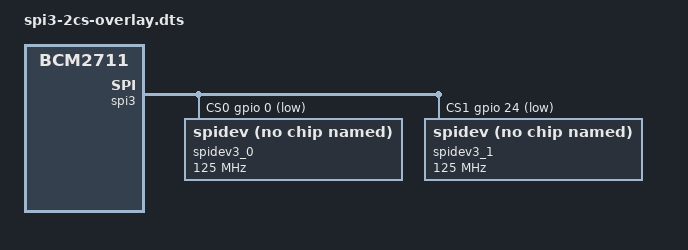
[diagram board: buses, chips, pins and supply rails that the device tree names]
/dts-v1/;
/plugin/;


/ {
	compatible = "brcm,bcm2711";

	fragment@0 {
		target = <&spi3_cs_pins>;
		frag0: __overlay__ {
			brcm,pins = <0 24>;
			brcm,function = <1>; /* output */
		};
	};

	fragment@1 {
		target = <&spi3>;
		frag1: __overlay__ {
			/* needed to avoid dtc warning */
			#address-cells = <1>;
			#size-cells = <0>;

			cs-gpios = <&gpio 0 1>, <&gpio 24 1>;
			status = "okay";

			spidev3_0: spidev@0 {
				compatible = "spidev";
				reg = <0>;      /* CE0 */
				#address-cells = <1>;
				#size-cells = <0>;
				spi-max-frequency = <125000000>;
				status = "okay";
			};

			spidev3_1: spidev@1 {
				compatible = "spidev";
				reg = <1>;      /* CE1 */
				#address-cells = <1>;
				#size-cells = <0>;
				spi-max-frequency = <125000000>;
				status = "okay";
			};
		};
	};

	__overrides__ {
		cs0_pin  = <&frag0>,"brcm,pins:0",
			   <&frag1>,"cs-gpios:4";
		cs1_pin  = <&frag0>,"brcm,pins:4",
			   <&frag1>,"cs-gpios:16";
		cs0_spidev = <&spidev3_0>,"status";
		cs1_spidev = <&spidev3_1>,"status";
	};
};
